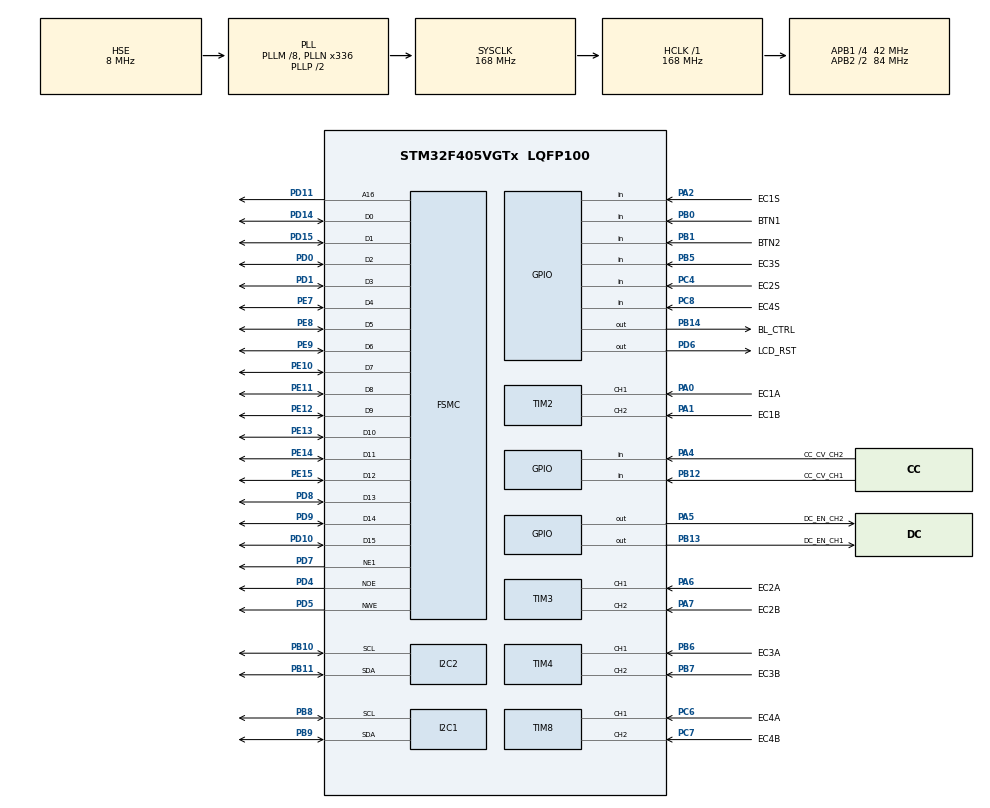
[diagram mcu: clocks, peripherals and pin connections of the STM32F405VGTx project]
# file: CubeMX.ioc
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FSMC.AddressSetupTime1=2
FSMC.BusTurnAroundDuration1=1
FSMC.DataSetupTime1=2
FSMC.ExtendedMode1=FSMC_EXTENDED_MODE_DISABLE
Mcu.Family=STM32F4
Mcu.Name=STM32F405VGTx
Mcu.Package=LQFP100
NVIC.PriorityGroup=NVIC_PRIORITYGROUP_4
NVIC.TIM6_DAC_IRQn=true\:1\:0\:true\:false\:true\:true\:true
PA0-WKUP.GPIO_Label=EC1A
PA0-WKUP.Signal=S_TIM2_CH1_ETR
PA1.GPIO_Label=EC1B
PA1.Signal=S_TIM2_CH2
PA13.Mode=Serial_Wire
PA13.Signal=SYS_JTMS-SWDIO
PA14.Mode=Serial_Wire
PA14.Signal=SYS_JTCK-SWCLK
PA2.GPIO_Label=EC1S
PA2.Signal=GPIO_Input
PA4.GPIO_Label=CC_CV_CH2
PA4.Signal=GPIO_Input
PA5.GPIO_Label=DC_EN_CH2
PA5.Signal=GPIO_Output
PA6.GPIO_Label=EC2A
PA6.Signal=S_TIM3_CH1
PA7.GPIO_Label=EC2B
PA7.Signal=S_TIM3_CH2
PB0.GPIO_Label=BTN1
PB0.Signal=GPIO_Input
PB1.GPIO_Label=BTN2
PB1.Signal=GPIO_Input
PB10.Mode=I2C
PB10.Signal=I2C2_SCL
PB11.Mode=I2C
PB11.Signal=I2C2_SDA
PB12.GPIO_Label=CC_CV_CH1
PB12.Signal=GPIO_Input
PB13.GPIO_Label=DC_EN_CH1
PB13.Signal=GPIO_Output
PB14.GPIO_Label=BL_CTRL
PB14.Signal=GPIO_Output
PB5.GPIO_Label=EC3S
PB5.Signal=GPIO_Input
PB6.GPIO_Label=EC3A
PB6.Signal=S_TIM4_CH1
PB7.GPIO_Label=EC3B
PB7.Signal=S_TIM4_CH2
PB8.Mode=I2C
PB8.Signal=I2C1_SCL
PB9.Mode=I2C
PB9.Signal=I2C1_SDA
PC4.GPIO_Label=EC2S
PC4.Signal=GPIO_Input
PC6.GPIO_Label=EC4A
PC6.Signal=S_TIM8_CH1
PC7.GPIO_Label=EC4B
PC7.Signal=S_TIM8_CH2
PC8.GPIO_Label=EC4S
PC8.Signal=GPIO_Input
PD0.Mode=16b-d1
PD0.Signal=FSMC_D2
PD1.Mode=16b-d1
PD1.Signal=FSMC_D3
PD10.Mode=16b-d1
PD10.Signal=FSMC_D15
PD11.Mode=A16_1
PD11.Signal=FSMC_A16
PD14.Mode=16b-d1
PD14.Signal=FSMC_D0
PD15.Mode=16b-d1
PD15.Signal=FSMC_D1
PD4.Mode=Lcd1
PD4.Signal=FSMC_NOE
PD5.Mode=Lcd1
PD5.Signal=FSMC_NWE
PD6.GPIO_Label=LCD_RST
PD6.PinState=GPIO_PIN_SET
PD6.Signal=GPIO_Output
PD7.Mode=NorPsramChipSelect1_1
PD7.Signal=FSMC_NE1
PD8.Mode=16b-d1
PD8.Signal=FSMC_D13
PD9.Mode=16b-d1
PD9.Signal=FSMC_D14
PE10.Mode=16b-d1
PE10.Signal=FSMC_D7
PE11.Mode=16b-d1
PE11.Signal=FSMC_D8
PE12.Mode=16b-d1
PE12.Signal=FSMC_D9
PE13.Mode=16b-d1
PE13.Signal=FSMC_D10
PE14.Mode=16b-d1
PE14.Signal=FSMC_D11
PE15.Mode=16b-d1
PE15.Signal=FSMC_D12
PE7.Mode=16b-d1
PE7.Signal=FSMC_D4
PE8.Mode=16b-d1
PE8.Signal=FSMC_D5
PE9.Mode=16b-d1
PE9.Signal=FSMC_D6
PH0-OSC_IN.Mode=HSE-External-Clock-Source
PH0-OSC_IN.Signal=RCC_OSC_IN
PH1-OSC_OUT.Mode=HSE-External-Clock-Source
PH1-OSC_OUT.Signal=RCC_OSC_OUT
ProjectManager.HeapSize=0x200
ProjectManager.StackSize=0x400
ProjectManager.TargetToolchain=STM32CubeIDE
RCC.48MHZClocksFreq_Value=84000000
RCC.AHBFreq_Value=168000000
RCC.APB1CLKDivider=RCC_HCLK_DIV4
RCC.APB1Freq_Value=42000000
RCC.APB1TimFreq_Value=84000000
RCC.APB2CLKDivider=RCC_HCLK_DIV2
RCC.APB2Freq_Value=84000000
RCC.APB2TimFreq_Value=168000000
RCC.CortexFreq_Value=168000000
RCC.HCLKFreq_Value=168000000
RCC.HSE_VALUE=8000000
RCC.HSI_VALUE=16000000
RCC.LSE_VALUE=32768
RCC.PLLM=8
RCC.PLLN=336
RCC.PLLSourceVirtual=RCC_PLLSOURCE_HSE
RCC.SYSCLKFreq_VALUE=168000000
RCC.SYSCLKSource=RCC_SYSCLKSOURCE_PLLCLK
RCC.VCOOutputFreq_Value=336000000
SH.S_TIM2_CH1_ETR.0=TIM2_CH1,Encoder_Interface
SH.S_TIM2_CH2.0=TIM2_CH2,Encoder_Interface
SH.S_TIM3_CH1.0=TIM3_CH1,Encoder_Interface
SH.S_TIM3_CH2.0=TIM3_CH2,Encoder_Interface
SH.S_TIM4_CH1.0=TIM4_CH1,Encoder_Interface
SH.S_TIM4_CH2.0=TIM4_CH2,Encoder_Interface
SH.S_TIM8_CH1.0=TIM8_CH1,Encoder_Interface
SH.S_TIM8_CH2.0=TIM8_CH2,Encoder_Interface
TIM2.IC1Filter=8
TIM2.IC1Polarity=TIM_ICPOLARITY_FALLING
TIM2.IC2Filter=8
TIM2.IC2Polarity=TIM_ICPOLARITY_FALLING
TIM3.IC1Filter=8
TIM3.IC1Polarity=TIM_ICPOLARITY_FALLING
TIM3.IC2Filter=8
TIM3.IC2Polarity=TIM_ICPOLARITY_FALLING
TIM4.IC1Filter=8
TIM4.IC1Polarity=TIM_ICPOLARITY_FALLING
TIM4.IC2Filter=8
TIM4.IC2Polarity=TIM_ICPOLARITY_FALLING
TIM6.Period=99
TIM6.Prescaler=839
TIM8.IC1Filter=8
TIM8.IC1Polarity=TIM_ICPOLARITY_FALLING
TIM8.IC2Filter=8
TIM8.IC2Polarity=TIM_ICPOLARITY_FALLING
VP_TIM6_VS_ClockSourceINT.Mode=Enable_Timer
board=custom

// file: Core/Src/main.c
/* USER CODE BEGIN Header */
/**
  ******************************************************************************
  * @file           : main.c
  * @brief          : Main program body
  ******************************************************************************
  * @attention
  *
  * Copyright (c) 2026 STMicroelectronics.
  * All rights reserved.
  *
  * This software is licensed under terms that can be found in the LICENSE file
  * in the root directory of this software component.
  * If no LICENSE file comes with this software, it is provided AS-IS.
  *
  ******************************************************************************
  */
/* USER CODE END Header */
#include "main.h"

/* USER CODE BEGIN Includes */
#include "ili9328.h"
#include "interface.h"
#include "psu_channel_ctrl.h"
#include "board_controls.h"
/* USER CODE END Includes */

I2C_HandleTypeDef hi2c1;
I2C_HandleTypeDef hi2c2;

TIM_HandleTypeDef htim2;
TIM_HandleTypeDef htim3;
TIM_HandleTypeDef htim4;
TIM_HandleTypeDef htim6;
TIM_HandleTypeDef htim8;

SRAM_HandleTypeDef hsram1;

/* USER CODE BEGIN PV */
volatile uint8_t is_scan_event = 0;
/* USER CODE END PV */

void SystemClock_Config(void);
static void MX_GPIO_Init(void);
static void MX_FSMC_Init(void);
static void MX_I2C1_Init(void);
static void MX_I2C2_Init(void);
static void MX_TIM2_Init(void);
static void MX_TIM3_Init(void);
static void MX_TIM4_Init(void);
static void MX_TIM6_Init(void);
static void MX_TIM8_Init(void);

int main(void)
{

  /* MCU Configuration--------------------------------------------------------*/

  /* Reset of all peripherals, Initializes the Flash interface and the Systick. */
  HAL_Init();

  /* Configure the system clock */
  SystemClock_Config();

  /* Initialize all configured peripherals */
  MX_GPIO_Init();
  MX_FSMC_Init();
  MX_I2C1_Init();
  MX_I2C2_Init();
  MX_TIM2_Init();
  MX_TIM3_Init();
  MX_TIM4_Init();
  MX_TIM6_Init();
  MX_TIM8_Init();
  /* USER CODE BEGIN 2 */

  // start encoder timers
  HAL_TIM_Encoder_Start(&htim2, TIM_CHANNEL_1);
  HAL_TIM_Encoder_Start(&htim3, TIM_CHANNEL_1);
  HAL_TIM_Encoder_Start(&htim4, TIM_CHANNEL_1);
  HAL_TIM_Encoder_Start(&htim8, TIM_CHANNEL_1);

  // LCD init
  ili9328_Init();
  ili9328_DisplayOn();

  // init PSU control
  PSU_controlInit();

  // init LVGL interface
  LCDIF_InitInterface();

  // start scanning timer
  HAL_TIM_Base_Start_IT(&htim6);

  // enable LCD backlight
  ili9328_BacklightCtrl(1);

  /* USER CODE END 2 */

  /* Infinite loop */
  while (1)
  {

    /* USER CODE BEGIN 3 */
	  if(is_scan_event)
	  {
		  is_scan_event = 0; // reset flag

		  // scan board controls
		  BC_ScanControls();

		  // increment LVGL tick
		  LCDIF_UpdateLvglTick();

		  // update LVGL timer
		  LCDIF_UpdateLvglTimer();
	  }
  }
  /* USER CODE END 3 */
}

void SystemClock_Config(void)
{
  RCC_OscInitTypeDef RCC_OscInitStruct = {0};
  RCC_ClkInitTypeDef RCC_ClkInitStruct = {0};

  /** Configure the main internal regulator output voltage
  */
  __HAL_RCC_PWR_CLK_ENABLE();
  __HAL_PWR_VOLTAGESCALING_CONFIG(PWR_REGULATOR_VOLTAGE_SCALE1);
  /** Initializes the RCC Oscillators according to the specified parameters
  * in the RCC_OscInitTypeDef structure.
  */
  RCC_OscInitStruct.OscillatorType = RCC_OSCILLATORTYPE_HSE;
  RCC_OscInitStruct.HSEState = RCC_HSE_BYPASS;
  RCC_OscInitStruct.PLL.PLLState = RCC_PLL_ON;
  RCC_OscInitStruct.PLL.PLLSource = RCC_PLLSOURCE_HSE;
  RCC_OscInitStruct.PLL.PLLM = 8;
  RCC_OscInitStruct.PLL.PLLN = 336;
  RCC_OscInitStruct.PLL.PLLP = RCC_PLLP_DIV2;
  RCC_OscInitStruct.PLL.PLLQ = 4;
  if (HAL_RCC_OscConfig(&RCC_OscInitStruct) != HAL_OK)
  {
    Error_Handler();
  }
  /** Initializes the CPU, AHB and APB buses clocks
  */
  RCC_ClkInitStruct.ClockType = RCC_CLOCKTYPE_HCLK|RCC_CLOCKTYPE_SYSCLK
                              |RCC_CLOCKTYPE_PCLK1|RCC_CLOCKTYPE_PCLK2;
  RCC_ClkInitStruct.SYSCLKSource = RCC_SYSCLKSOURCE_PLLCLK;
  RCC_ClkInitStruct.AHBCLKDivider = RCC_SYSCLK_DIV1;
  RCC_ClkInitStruct.APB1CLKDivider = RCC_HCLK_DIV4;
  RCC_ClkInitStruct.APB2CLKDivider = RCC_HCLK_DIV2;

  if (HAL_RCC_ClockConfig(&RCC_ClkInitStruct, FLASH_LATENCY_5) != HAL_OK)
  {
    Error_Handler();
  }
}

static void MX_I2C1_Init(void)
{

  hi2c1.Instance = I2C1;
  hi2c1.Init.ClockSpeed = 100000;
  hi2c1.Init.DutyCycle = I2C_DUTYCYCLE_2;
  hi2c1.Init.OwnAddress1 = 0;
  hi2c1.Init.AddressingMode = I2C_ADDRESSINGMODE_7BIT;
  hi2c1.Init.DualAddressMode = I2C_DUALADDRESS_DISABLE;
  hi2c1.Init.OwnAddress2 = 0;
  hi2c1.Init.GeneralCallMode = I2C_GENERALCALL_DISABLE;
  hi2c1.Init.NoStretchMode = I2C_NOSTRETCH_DISABLE;
  if (HAL_I2C_Init(&hi2c1) != HAL_OK)
  {
    Error_Handler();
  }

}

static void MX_I2C2_Init(void)
{

  hi2c2.Instance = I2C2;
  hi2c2.Init.ClockSpeed = 100000;
  hi2c2.Init.DutyCycle = I2C_DUTYCYCLE_2;
  hi2c2.Init.OwnAddress1 = 0;
  hi2c2.Init.AddressingMode = I2C_ADDRESSINGMODE_7BIT;
  hi2c2.Init.DualAddressMode = I2C_DUALADDRESS_DISABLE;
  hi2c2.Init.OwnAddress2 = 0;
  hi2c2.Init.GeneralCallMode = I2C_GENERALCALL_DISABLE;
  hi2c2.Init.NoStretchMode = I2C_NOSTRETCH_DISABLE;
  if (HAL_I2C_Init(&hi2c2) != HAL_OK)
  {
    Error_Handler();
  }

}

static void MX_TIM2_Init(void)
{

  TIM_Encoder_InitTypeDef sConfig = {0};
  TIM_MasterConfigTypeDef sMasterConfig = {0};

  htim2.Instance = TIM2;
  htim2.Init.Prescaler = 0;
  htim2.Init.CounterMode = TIM_COUNTERMODE_UP;
  htim2.Init.Period = 4294967295;
  htim2.Init.ClockDivision = TIM_CLOCKDIVISION_DIV1;
  htim2.Init.AutoReloadPreload = TIM_AUTORELOAD_PRELOAD_DISABLE;
  sConfig.EncoderMode = TIM_ENCODERMODE_TI1;
  sConfig.IC1Polarity = TIM_ICPOLARITY_FALLING;
  sConfig.IC1Selection = TIM_ICSELECTION_DIRECTTI;
  sConfig.IC1Prescaler = TIM_ICPSC_DIV1;
  sConfig.IC1Filter = 8;
  sConfig.IC2Polarity = TIM_ICPOLARITY_FALLING;
  sConfig.IC2Selection = TIM_ICSELECTION_DIRECTTI;
  sConfig.IC2Prescaler = TIM_ICPSC_DIV1;
  sConfig.IC2Filter = 8;
  if (HAL_TIM_Encoder_Init(&htim2, &sConfig) != HAL_OK)
  {
    Error_Handler();
  }
  sMasterConfig.MasterOutputTrigger = TIM_TRGO_RESET;
  sMasterConfig.MasterSlaveMode = TIM_MASTERSLAVEMODE_DISABLE;
  if (HAL_TIMEx_MasterConfigSynchronization(&htim2, &sMasterConfig) != HAL_OK)
  {
    Error_Handler();
  }
  /* USER CODE BEGIN TIM2_Init 2 */
  TIM2->CNT = 0x7FFF; // initial counter value
  /* USER CODE END TIM2_Init 2 */

}

static void MX_TIM3_Init(void)
{

  TIM_Encoder_InitTypeDef sConfig = {0};
  TIM_MasterConfigTypeDef sMasterConfig = {0};

  htim3.Instance = TIM3;
  htim3.Init.Prescaler = 0;
  htim3.Init.CounterMode = TIM_COUNTERMODE_UP;
  htim3.Init.Period = 65535;
  htim3.Init.ClockDivision = TIM_CLOCKDIVISION_DIV1;
  htim3.Init.AutoReloadPreload = TIM_AUTORELOAD_PRELOAD_DISABLE;
  sConfig.EncoderMode = TIM_ENCODERMODE_TI1;
  sConfig.IC1Polarity = TIM_ICPOLARITY_FALLING;
  sConfig.IC1Selection = TIM_ICSELECTION_DIRECTTI;
  sConfig.IC1Prescaler = TIM_ICPSC_DIV1;
  sConfig.IC1Filter = 8;
  sConfig.IC2Polarity = TIM_ICPOLARITY_FALLING;
  sConfig.IC2Selection = TIM_ICSELECTION_DIRECTTI;
  sConfig.IC2Prescaler = TIM_ICPSC_DIV1;
  sConfig.IC2Filter = 8;
  if (HAL_TIM_Encoder_Init(&htim3, &sConfig) != HAL_OK)
  {
    Error_Handler();
  }
  sMasterConfig.MasterOutputTrigger = TIM_TRGO_RESET;
  sMasterConfig.MasterSlaveMode = TIM_MASTERSLAVEMODE_DISABLE;
  if (HAL_TIMEx_MasterConfigSynchronization(&htim3, &sMasterConfig) != HAL_OK)
  {
    Error_Handler();
  }
  /* USER CODE BEGIN TIM3_Init 2 */
  TIM3->CNT = 0x7FFF; // initial counter value
  /* USER CODE END TIM3_Init 2 */

}

static void MX_TIM4_Init(void)
{

  TIM_Encoder_InitTypeDef sConfig = {0};
  TIM_MasterConfigTypeDef sMasterConfig = {0};

  htim4.Instance = TIM4;
  htim4.Init.Prescaler = 0;
  htim4.Init.CounterMode = TIM_COUNTERMODE_UP;
  htim4.Init.Period = 65535;
  htim4.Init.ClockDivision = TIM_CLOCKDIVISION_DIV1;
  htim4.Init.AutoReloadPreload = TIM_AUTORELOAD_PRELOAD_DISABLE;
  sConfig.EncoderMode = TIM_ENCODERMODE_TI1;
  sConfig.IC1Polarity = TIM_ICPOLARITY_FALLING;
  sConfig.IC1Selection = TIM_ICSELECTION_DIRECTTI;
  sConfig.IC1Prescaler = TIM_ICPSC_DIV1;
  sConfig.IC1Filter = 8;
  sConfig.IC2Polarity = TIM_ICPOLARITY_FALLING;
  sConfig.IC2Selection = TIM_ICSELECTION_DIRECTTI;
  sConfig.IC2Prescaler = TIM_ICPSC_DIV1;
  sConfig.IC2Filter = 8;
  if (HAL_TIM_Encoder_Init(&htim4, &sConfig) != HAL_OK)
  {
    Error_Handler();
  }
  sMasterConfig.MasterOutputTrigger = TIM_TRGO_RESET;
  sMasterConfig.MasterSlaveMode = TIM_MASTERSLAVEMODE_DISABLE;
  if (HAL_TIMEx_MasterConfigSynchronization(&htim4, &sMasterConfig) != HAL_OK)
  {
    Error_Handler();
  }
  /* USER CODE BEGIN TIM4_Init 2 */
  TIM4->CNT = 0x7FFF; // initial counter value
  /* USER CODE END TIM4_Init 2 */

}

static void MX_TIM6_Init(void)
{

  TIM_MasterConfigTypeDef sMasterConfig = {0};

  htim6.Instance = TIM6;
  htim6.Init.Prescaler = 839;
  htim6.Init.CounterMode = TIM_COUNTERMODE_UP;
  htim6.Init.Period = 99;
  htim6.Init.AutoReloadPreload = TIM_AUTORELOAD_PRELOAD_DISABLE;
  if (HAL_TIM_Base_Init(&htim6) != HAL_OK)
  {
    Error_Handler();
  }
  sMasterConfig.MasterOutputTrigger = TIM_TRGO_RESET;
  sMasterConfig.MasterSlaveMode = TIM_MASTERSLAVEMODE_DISABLE;
  if (HAL_TIMEx_MasterConfigSynchronization(&htim6, &sMasterConfig) != HAL_OK)
  {
    Error_Handler();
  }

}

static void MX_TIM8_Init(void)
{

  TIM_Encoder_InitTypeDef sConfig = {0};
  TIM_MasterConfigTypeDef sMasterConfig = {0};

  htim8.Instance = TIM8;
  htim8.Init.Prescaler = 0;
  htim8.Init.CounterMode = TIM_COUNTERMODE_UP;
  htim8.Init.Period = 65535;
  htim8.Init.ClockDivision = TIM_CLOCKDIVISION_DIV1;
  htim8.Init.RepetitionCounter = 0;
  htim8.Init.AutoReloadPreload = TIM_AUTORELOAD_PRELOAD_DISABLE;
  sConfig.EncoderMode = TIM_ENCODERMODE_TI1;
  sConfig.IC1Polarity = TIM_ICPOLARITY_FALLING;
  sConfig.IC1Selection = TIM_ICSELECTION_DIRECTTI;
  sConfig.IC1Prescaler = TIM_ICPSC_DIV1;
  sConfig.IC1Filter = 8;
  sConfig.IC2Polarity = TIM_ICPOLARITY_FALLING;
  sConfig.IC2Selection = TIM_ICSELECTION_DIRECTTI;
  sConfig.IC2Prescaler = TIM_ICPSC_DIV1;
  sConfig.IC2Filter = 8;
  if (HAL_TIM_Encoder_Init(&htim8, &sConfig) != HAL_OK)
  {
    Error_Handler();
  }
  sMasterConfig.MasterOutputTrigger = TIM_TRGO_RESET;
  sMasterConfig.MasterSlaveMode = TIM_MASTERSLAVEMODE_DISABLE;
  if (HAL_TIMEx_MasterConfigSynchronization(&htim8, &sMasterConfig) != HAL_OK)
  {
    Error_Handler();
  }
  /* USER CODE BEGIN TIM8_Init 2 */
  TIM8->CNT = 0x7FFF; // initial counter value
  /* USER CODE END TIM8_Init 2 */

}

static void MX_GPIO_Init(void)
{
  GPIO_InitTypeDef GPIO_InitStruct = {0};

  /* GPIO Ports Clock Enable */
  __HAL_RCC_GPIOH_CLK_ENABLE();
  __HAL_RCC_GPIOA_CLK_ENABLE();
  __HAL_RCC_GPIOC_CLK_ENABLE();
  __HAL_RCC_GPIOB_CLK_ENABLE();
  __HAL_RCC_GPIOE_CLK_ENABLE();
  __HAL_RCC_GPIOD_CLK_ENABLE();

  /*Configure GPIO pin Output Level */
  HAL_GPIO_WritePin(DC_EN_CH2_GPIO_Port, DC_EN_CH2_Pin, GPIO_PIN_RESET);

  /*Configure GPIO pin Output Level */
  HAL_GPIO_WritePin(GPIOB, DC_EN_CH1_Pin|BL_CTRL_Pin, GPIO_PIN_RESET);

  /*Configure GPIO pin Output Level */
  HAL_GPIO_WritePin(LCD_RST_GPIO_Port, LCD_RST_Pin, GPIO_PIN_SET);

  /*Configure GPIO pins : EC1S_Pin CC_CV_CH2_Pin */
  GPIO_InitStruct.Pin = EC1S_Pin|CC_CV_CH2_Pin;
  GPIO_InitStruct.Mode = GPIO_MODE_INPUT;
  GPIO_InitStruct.Pull = GPIO_NOPULL;
  HAL_GPIO_Init(GPIOA, &GPIO_InitStruct);

  /*Configure GPIO pin : DC_EN_CH2_Pin */
  GPIO_InitStruct.Pin = DC_EN_CH2_Pin;
  GPIO_InitStruct.Mode = GPIO_MODE_OUTPUT_PP;
  GPIO_InitStruct.Pull = GPIO_NOPULL;
  GPIO_InitStruct.Speed = GPIO_SPEED_FREQ_LOW;
  HAL_GPIO_Init(DC_EN_CH2_GPIO_Port, &GPIO_InitStruct);

  /*Configure GPIO pins : EC2S_Pin EC4S_Pin */
  GPIO_InitStruct.Pin = EC2S_Pin|EC4S_Pin;
  GPIO_InitStruct.Mode = GPIO_MODE_INPUT;
  GPIO_InitStruct.Pull = GPIO_NOPULL;
  HAL_GPIO_Init(GPIOC, &GPIO_InitStruct);

  /*Configure GPIO pins : BTN1_Pin BTN2_Pin CC_CV_CH1_Pin EC3S_Pin */
  GPIO_InitStruct.Pin = BTN1_Pin|BTN2_Pin|CC_CV_CH1_Pin|EC3S_Pin;
  GPIO_InitStruct.Mode = GPIO_MODE_INPUT;
  GPIO_InitStruct.Pull = GPIO_NOPULL;
  HAL_GPIO_Init(GPIOB, &GPIO_InitStruct);

  /*Configure GPIO pins : DC_EN_CH1_Pin BL_CTRL_Pin */
  GPIO_InitStruct.Pin = DC_EN_CH1_Pin|BL_CTRL_Pin;
  GPIO_InitStruct.Mode = GPIO_MODE_OUTPUT_PP;
  GPIO_InitStruct.Pull = GPIO_NOPULL;
  GPIO_InitStruct.Speed = GPIO_SPEED_FREQ_LOW;
  HAL_GPIO_Init(GPIOB, &GPIO_InitStruct);

  /*Configure GPIO pin : LCD_RST_Pin */
  GPIO_InitStruct.Pin = LCD_RST_Pin;
  GPIO_InitStruct.Mode = GPIO_MODE_OUTPUT_PP;
  GPIO_InitStruct.Pull = GPIO_NOPULL;
  GPIO_InitStruct.Speed = GPIO_SPEED_FREQ_LOW;
  HAL_GPIO_Init(LCD_RST_GPIO_Port, &GPIO_InitStruct);

}

/* FSMC initialization function */
static void MX_FSMC_Init(void)
{

  FSMC_NORSRAM_TimingTypeDef Timing = {0};

  /** Perform the SRAM1 memory initialization sequence
  */
  hsram1.Instance = FSMC_NORSRAM_DEVICE;
  hsram1.Extended = FSMC_NORSRAM_EXTENDED_DEVICE;
  /* hsram1.Init */
  hsram1.Init.NSBank = FSMC_NORSRAM_BANK1;
  hsram1.Init.DataAddressMux = FSMC_DATA_ADDRESS_MUX_DISABLE;
  hsram1.Init.MemoryType = FSMC_MEMORY_TYPE_SRAM;
  hsram1.Init.MemoryDataWidth = FSMC_NORSRAM_MEM_BUS_WIDTH_16;
  hsram1.Init.BurstAccessMode = FSMC_BURST_ACCESS_MODE_DISABLE;
  hsram1.Init.WaitSignalPolarity = FSMC_WAIT_SIGNAL_POLARITY_LOW;
  hsram1.Init.WrapMode = FSMC_WRAP_MODE_DISABLE;
  hsram1.Init.WaitSignalActive = FSMC_WAIT_TIMING_BEFORE_WS;
  hsram1.Init.WriteOperation = FSMC_WRITE_OPERATION_ENABLE;
  hsram1.Init.WaitSignal = FSMC_WAIT_SIGNAL_DISABLE;
  hsram1.Init.ExtendedMode = FSMC_EXTENDED_MODE_DISABLE;
  hsram1.Init.AsynchronousWait = FSMC_ASYNCHRONOUS_WAIT_DISABLE;
  hsram1.Init.WriteBurst = FSMC_WRITE_BURST_DISABLE;
  hsram1.Init.PageSize = FSMC_PAGE_SIZE_NONE;
  /* Timing */
  Timing.AddressSetupTime = 4;
  Timing.AddressHoldTime = 2;
  Timing.DataSetupTime = 4;
  Timing.BusTurnAroundDuration = 0;
  Timing.CLKDivision = 0;
  Timing.DataLatency = 0;
  Timing.AccessMode = FSMC_ACCESS_MODE_A;
  /* ExtTiming */

  if (HAL_SRAM_Init(&hsram1, &Timing, NULL) != HAL_OK)
  {
    Error_Handler( );
  }

}

/* USER CODE BEGIN 4 */
/**
  * @brief  Period elapsed callback in non-blocking mode
  * @param  htim TIM handle
  * @retval None
  */
void HAL_TIM_PeriodElapsedCallback(TIM_HandleTypeDef *htim)
{
	if(htim->Instance == TIM6)
	{
		is_scan_event = 1;
	}
}
/* USER CODE END 4 */

void Error_Handler(void)
{
  __disable_irq();
  while (1)
  {
  }
}
